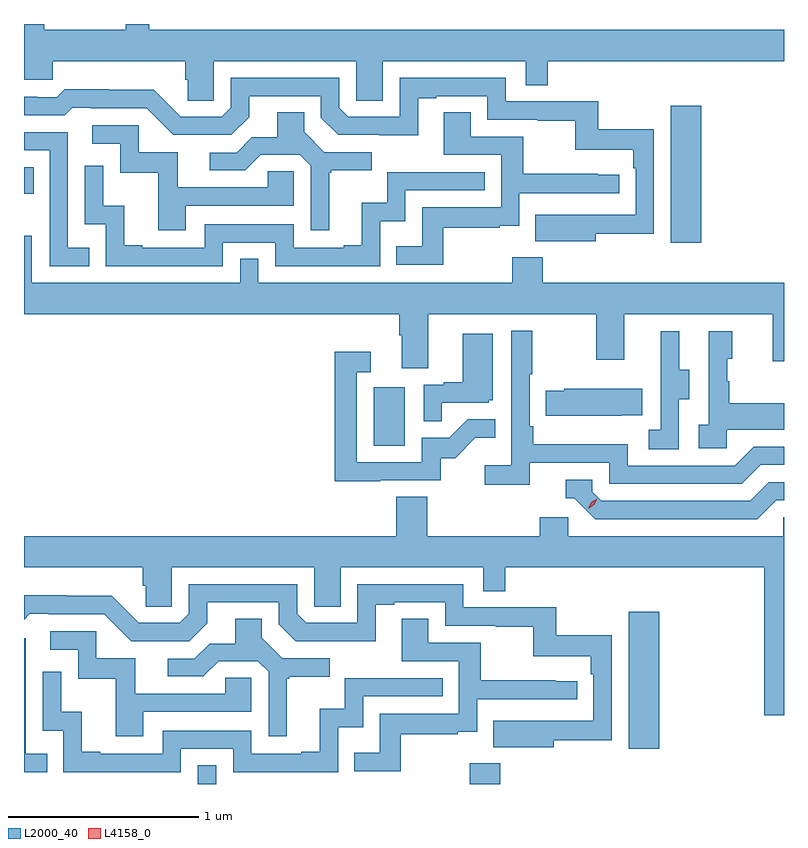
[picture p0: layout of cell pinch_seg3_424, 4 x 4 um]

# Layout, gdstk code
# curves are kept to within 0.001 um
import gdstk
lib = gdstk.Library(unit=1e-6, precision=1e-09)
def R(c, l, rs):  # rectangles x0, y0, x1, y1
    for r in rs: c.add(gdstk.rectangle(r[:2], r[2:], *l))
def P(c, l, *ps):  # polygons
    for p in ps: c.add(gdstk.Polygon(p, *l))
L2000_40 = (2000, 40)
L4158_0 = (4158, 0)

pinch_seg3_424 = lib.new_cell('pinch_seg3_424')
R(pinch_seg3_424, L2000_40, [(911.868,702.439,911.964,702.539), (913.3,702.439,913.46,702.547), (914.135,702.624,914.296,703.345), (912.794,704.22,912.958,704.527), (914.357,705.288,914.518,706.009), (910.953,705.545,911.003,705.685)])
P(pinch_seg3_424, L2000_40, [(911.611,706.439),(911.489,706.439),(911.489,706.408),(911.059,706.408),(911.059,706.439),(910.953,706.439),(910.953,706.146),(911.103,706.146),(911.103,706.244),(911.801,706.244),(911.801,706.146),(911.815,706.146),(911.815,706.036),(911.952,706.036),(911.952,706.244),(912.702,706.244),(912.702,706.036),(912.841,706.036),(912.841,706.244),(913.593,706.244),(913.593,706.117),(913.709,706.117),(913.709,706.244),(914.953,706.244),(914.953,706.408),(911.611,706.408)],
  [(913.963,705.334),(914.268,705.334),(914.268,705.886),(913.975,705.886),(913.975,706.032),(913.488,706.032),(913.488,706.155),(912.93,706.155),(912.93,705.951),(912.66,705.951),(912.612,705.999),(912.612,706.155),(912.042,706.155),(912.042,705.999),(911.994,705.951),(911.778,705.951),(911.636,706.093),(911.4,706.093),(911.4,706.096),(911.167,706.096),(911.125,706.053),(911.022,706.053),(911.022,706.056),(910.953,706.056),(910.953,705.96),(911.167,705.96),(911.206,705.999),(911.305,705.999),(911.305,705.996),(911.598,705.996),(911.739,705.855),(912.045,705.855),(912.139,705.949),(912.139,706.059),(912.516,706.059),(912.516,705.945),(912.606,705.855),(913.027,705.854),(913.027,706.047),(913.123,706.047),(913.123,706.059),(913.392,706.059),(913.392,705.936),(913.657,705.936),(913.657,705.931),(913.854,705.931),(913.854,705.776),(914.159,705.776),(914.159,705.68),(914.172,705.68),(914.172,705.435),(913.645,705.436),(913.645,705.296),(913.963,705.296)],
  [(913.159,705.366),(913.457,705.366),(913.457,705.377),(913.56,705.377),(913.56,705.549),(914.086,705.549),(914.086,705.645),(913.973,705.645),(913.973,705.65),(913.58,705.65),(913.58,705.846),(913.303,705.846),(913.303,705.974),(913.163,705.974),(913.163,705.75),(913.464,705.75),(913.464,705.474),(913.048,705.474),(913.048,705.268),(912.913,705.268),(912.913,705.171),(913.159,705.171)],
  [(912.559,705.657),(912.571,705.657),(912.571,705.668),(912.784,705.668),(912.784,705.765),(912.534,705.765),(912.427,705.872),(912.427,705.974),(912.287,705.974),(912.287,705.842),(912.152,705.842),(912.072,705.762),(911.931,705.762),(911.931,705.669),(912.118,705.669),(912.199,705.75),(912.405,705.75),(912.462,705.693),(912.462,705.354),(912.559,705.354)],
  [(911.803,705.483),(912.372,705.483),(912.372,705.663),(912.235,705.663),(912.235,705.579),(911.761,705.579),(911.761,705.765),(911.556,705.765),(911.556,705.906),(911.313,705.906),(911.313,705.81),(911.46,705.81),(911.46,705.657),(911.659,705.657),(911.659,705.354),(911.803,705.354)],
  [(911.297,705.261),(911.184,705.261),(911.184,705.87),(910.953,705.87),(910.953,705.774),(911.088,705.774),(911.088,705.165),(911.297,705.165)],
  [(912,705.288),(912.276,705.288),(912.276,705.165),(912.828,705.165),(912.828,705.401),(912.96,705.401),(912.96,705.564),(913.379,705.564),(913.379,705.66),(912.864,705.66),(912.864,705.499),(912.731,705.499),(912.731,705.274),(912.635,705.274),(912.635,705.261),(912.372,705.261),(912.372,705.384),(911.904,705.384),(911.904,705.261),(911.575,705.261),(911.575,705.274),(911.48,705.274),(911.48,705.482),(911.37,705.482),(911.37,705.694),(911.274,705.694),(911.274,705.384),(911.382,705.384),(911.382,705.165),(912,705.165)],
  [(913.081,704.912),(913.966,704.912),(913.966,704.673),(914.113,704.673),(914.113,704.912),(914.894,704.912),(914.894,704.664),(914.953,704.664),(914.953,705.076),(913.682,705.076),(913.682,705.211),(913.522,705.211),(913.522,705.076),(912.186,705.076),(912.186,705.203),(912.09,705.203),(912.09,705.076),(910.995,705.076),(910.995,705.325),(910.953,705.325),(910.953,704.912),(912.929,704.912),(912.929,704.8),(912.941,704.8),(912.941,704.626),(913.081,704.626)],
  [(913.616,704.13),(914.034,704.13),(914.034,704.019),(914.731,704.019),(914.83,704.118),(914.953,704.118),(914.953,704.214),(914.793,704.214),(914.694,704.115),(914.13,704.115),(914.13,704.227),(913.634,704.227),(913.634,704.323),(913.614,704.323),(913.614,704.596),(913.627,704.596),(913.627,704.824),(913.518,704.824),(913.518,704.116),(913.377,704.116),(913.377,704.014),(913.616,704.014)],
  [(914.4,704.464),(914.455,704.464),(914.455,704.619),(914.401,704.619),(914.401,704.821),(914.303,704.821),(914.303,704.607),(914.304,704.607),(914.304,704.303),(914.241,704.303),(914.241,704.2),(914.4,704.2)],
  [(914.652,704.303),(914.953,704.303),(914.953,704.443),(914.665,704.443),(914.665,704.558),(914.655,704.558),(914.655,704.676),(914.68,704.676),(914.68,704.821),(914.556,704.821),(914.556,704.33),(914.505,704.33),(914.505,704.205),(914.652,704.205)],
  [(913.151,704.445),(913.398,704.445),(913.398,704.46),(913.42,704.46),(913.42,704.809),(913.262,704.809),(913.262,704.554),(913.163,704.554),(913.163,704.541),(913.056,704.541),(913.056,704.347),(913.151,704.347)],
  [(912.827,704.037),(913.146,704.037),(913.146,704.154),(913.222,704.154),(913.329,704.261),(913.433,704.261),(913.433,704.36),(913.289,704.36),(913.191,704.262),(913.047,704.262),(913.047,704.133),(912.705,704.133),(912.705,704.607),(912.778,704.607),(912.778,704.713),(912.589,704.713),(912.589,704.032),(912.827,704.032)],
  [(914.099,704.381),(914.207,704.381),(914.207,704.518),(913.797,704.518),(913.797,704.508),(913.699,704.508),(913.699,704.378),(914.099,704.378)],
  [(914.911,703.932),(914.953,703.932),(914.953,704.028),(914.874,704.028),(914.775,703.929),(913.992,703.929),(913.944,703.977),(913.944,704.04),(913.805,704.04),(913.805,703.944),(913.848,703.944),(913.959,703.833),(914.812,703.833)],
  [(914.953,703.842),(914.949,703.842),(914.949,703.744),(913.818,703.744),(913.818,703.842),(913.667,703.842),(913.667,703.744),(913.076,703.744),(913.076,703.952),(912.911,703.952),(912.911,703.744),(910.953,703.744),(910.953,703.58),(911.579,703.58),(911.579,703.482),(911.593,703.482),(911.593,703.372),(911.73,703.372),(911.73,703.58),(912.48,703.58),(912.48,703.372),(912.619,703.372),(912.619,703.58),(913.371,703.58),(913.371,703.453),(913.487,703.453),(913.487,703.58),(914.849,703.58),(914.849,702.801),(914.953,702.801)],
  [(913.741,702.67),(914.046,702.67),(914.046,703.222),(913.753,703.222),(913.753,703.368),(913.266,703.368),(913.266,703.491),(912.708,703.491),(912.708,703.287),(912.438,703.287),(912.39,703.335),(912.39,703.491),(911.82,703.491),(911.82,703.335),(911.772,703.287),(911.556,703.287),(911.414,703.429),(911.178,703.429),(911.178,703.432),(910.953,703.432),(910.953,703.304),(910.984,703.335),(911.083,703.335),(911.083,703.332),(911.376,703.332),(911.517,703.191),(911.823,703.191),(911.917,703.285),(911.917,703.395),(912.294,703.395),(912.294,703.281),(912.384,703.191),(912.805,703.19),(912.805,703.383),(912.901,703.383),(912.901,703.395),(913.17,703.395),(913.17,703.272),(913.435,703.272),(913.435,703.267),(913.632,703.267),(913.632,703.112),(913.937,703.112),(913.937,703.016),(913.95,703.016),(913.95,702.771),(913.423,702.772),(913.423,702.632),(913.741,702.632)],
  [(912.937,702.702),(913.235,702.702),(913.235,702.713),(913.338,702.713),(913.338,702.885),(913.864,702.885),(913.864,702.981),(913.751,702.981),(913.751,702.986),(913.358,702.986),(913.358,703.182),(913.081,703.182),(913.081,703.31),(912.941,703.31),(912.941,703.086),(913.242,703.086),(913.242,702.81),(912.826,702.81),(912.826,702.604),(912.691,702.604),(912.691,702.507),(912.937,702.507)],
  [(912.337,702.993),(912.349,702.993),(912.349,703.004),(912.562,703.004),(912.562,703.101),(912.312,703.101),(912.205,703.208),(912.205,703.31),(912.065,703.31),(912.065,703.178),(911.93,703.178),(911.85,703.098),(911.709,703.098),(911.709,703.005),(911.896,703.005),(911.977,703.086),(912.183,703.086),(912.24,703.029),(912.24,702.69),(912.337,702.69)],
  [(911.581,702.819),(912.15,702.819),(912.15,702.999),(912.013,702.999),(912.013,702.915),(911.539,702.915),(911.539,703.101),(911.334,703.101),(911.334,703.242),(911.091,703.242),(911.091,703.146),(911.238,703.146),(911.238,702.993),(911.437,702.993),(911.437,702.69),(911.581,702.69)],
  [(911.075,702.597),(910.962,702.597),(910.962,703.206),(910.953,703.206),(910.953,702.501),(911.075,702.501)],
  [(911.778,702.624),(912.054,702.624),(912.054,702.501),(912.606,702.501),(912.606,702.737),(912.738,702.737),(912.738,702.9),(913.157,702.9),(913.157,702.996),(912.642,702.996),(912.642,702.835),(912.509,702.835),(912.509,702.61),(912.413,702.61),(912.413,702.597),(912.15,702.597),(912.15,702.72),(911.682,702.72),(911.682,702.597),(911.353,702.597),(911.353,702.61),(911.258,702.61),(911.258,702.818),(911.148,702.818),(911.148,703.03),(911.052,703.03),(911.052,702.72),(911.16,702.72),(911.16,702.501),(911.778,702.501)])
P(pinch_seg3_424, L4158_0, [(913.923,703.889),(913.923,703.889),(913.939,703.922),(913.97,703.941),(913.97,703.941),(913.97,703.941),(913.954,703.908),(913.923,703.889)])

lib.write_gds('pinch_seg3_424.gds')
